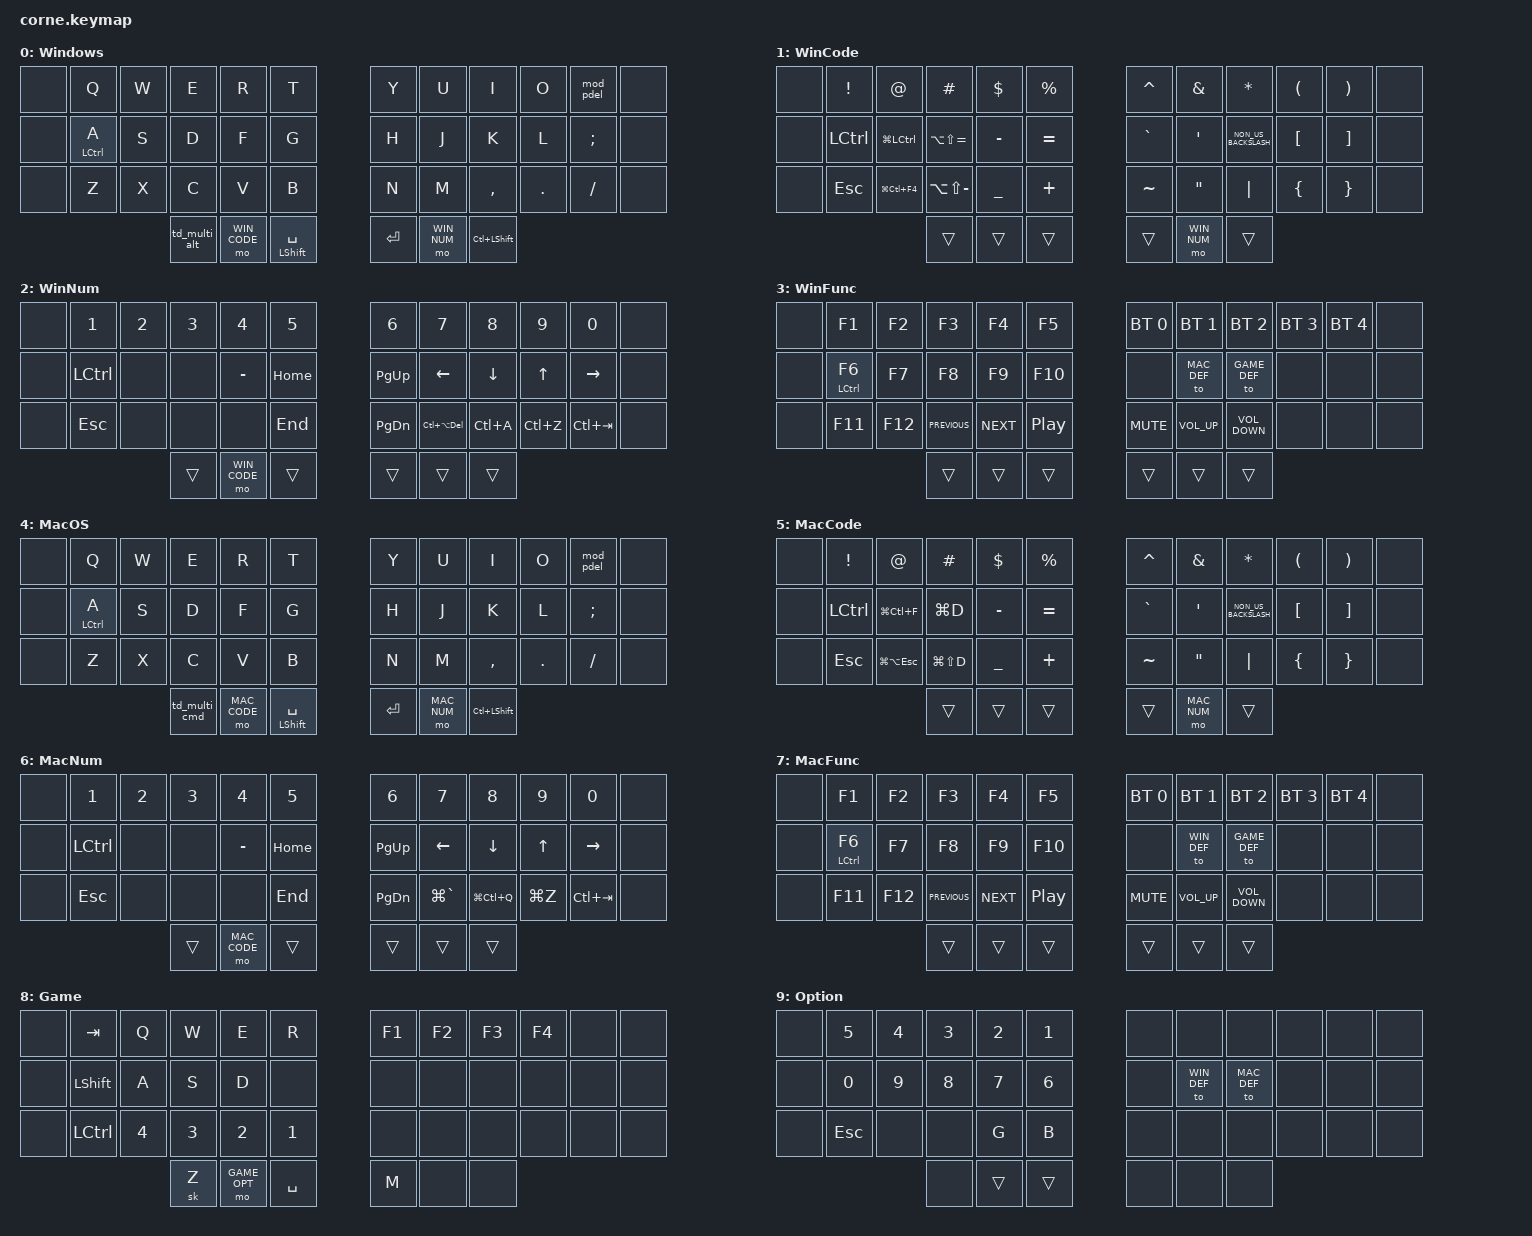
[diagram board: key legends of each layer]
/*
 * Copyright (c) 2020 The ZMK Contributors
 *
 * SPDX-License-Identifier: MIT
 */

#include <behaviors.dtsi>
#include <dt-bindings/zmk/bt.h>
#include <dt-bindings/zmk/keys.h>

// Layers

#define WIN_DEF  0
#define WIN_CODE 1
#define WIN_NUM  2
#define WIN_FUNC 3
#define MAC_DEF  4
#define MAC_CODE 5
#define MAC_NUM  6
#define MAC_FUNC 7
#define GAME_DEF 8
#define GAME_OPT 9

/ {
    macros {
        terminal_win: terminal_win {
            label = "TERMINAL_WIN";
            compatible = "zmk,behavior-macro";
            #binding-cells = <0>;
            bindings =
                <&macro_press>,
                <&kp LGUI>,
                <&macro_wait_time 50>,
                <&macro_tap>,
                <&kp R>,
                <&macro_release>,
                <&kp LGUI>,
                <&macro_wait_time 50>,
                <&macro_tap>,
                <&kp BACKSPACE>,
                <&macro_wait_time 50>,
                <&macro_tap>,
                <&kp W &kp T>,
                <&macro_wait_time 50>,
                <&macro_tap>,
                <&kp ENTER>;
        };

        screenshot_win: screenshot_win {
            label = "SCREENSHOT_WIN";
            compatible = "zmk,behavior-macro";
            #binding-cells = <0>;
            bindings =
                <&macro_press>,
                <&kp LGUI &kp LEFT_SHIFT>,
                <&macro_wait_time 50>,
                <&macro_tap>,
                <&kp S>,
                <&macro_release>,
                <&kp LGUI &kp LEFT_SHIFT>;
        };

        spotlight: spotlight {
            label = "SPOTLIGHT";
            compatible = "zmk,behavior-macro";
            #binding-cells = <0>;
            bindings =
                <&macro_press>,
                <&kp LGUI>,
                <&macro_wait_time 50>,
                <&macro_tap>,
                <&kp SPACE>,
                <&macro_release>,
                <&kp LGUI>;
        };

        screenshot_mac: screenshot_mac {
            label = "SCREEMSHOT_MAC";
            compatible = "zmk,behavior-macro";
            #binding-cells = <0>;
            bindings =
                <&macro_press>,
                <&kp LGUI &kp LEFT_SHIFT &kp LEFT_CONTROL>,
                <&macro_wait_time 50>,
                <&macro_tap>,
                <&kp NUMBER_4>,
                <&macro_release>,
                <&kp LGUI &kp LEFT_SHIFT &kp LEFT_CONTROL>;
        };
    };

    combos {
        compatible = "zmk,combos";

        combo_BT_CLR {
            bindings = <&bt BT_CLR>;
            key-positions = <18 22>;
            timeout-ms = <20>;
            layers = <3 7>;
        };

        combo_TAB {
            bindings = <&kp TAB>;
            key-positions = <1 2>;
            timeout-ms = <20>;
            layers = <0 1 2 3 4 5 6 7>;
        };

        combo_DEL {
            bindings = <&kp DEL>;
            key-positions = <9 10>;
            timeout-ms = <20>;
            layers = <0 1 2 3 4 5 6 7>;
        };

        combo_ALT_F4 {
            bindings = <&kp LA(F4)>;
            key-positions = <21 22>;
            timeout-ms = <20>;
            layers = <0>;
        };

        combo_ESC {
            bindings = <&kp ESC>;
            key-positions = <25 26>;
            timeout-ms = <20>;
            layers = <0 1 2 3 4 5 6 7>;
        };

        combo_TD_MULTI_WIN {
            bindings = <&td_multi_win>;
            key-positions = <33 34>;
            layers = <0 1 2 3>;
            timeout-ms = <20>;
        };

        combo_TD_MULTI_MAC {
            bindings = <&td_multi_mac>;
            key-positions = <33 34>;
            layers = <4 5 6 7>;
            timeout-ms = <20>;
        };
    };

    behaviors {
        td_multi_win: tap_dance_multi_win {
            compatible = "zmk,behavior-tap-dance";
            label = "TAP_DANCE_MULTI_WIN";
            #binding-cells = <0>;
            tapping-term-ms = <200>;
            bindings = <&sk LEFT_GUI>, <&terminal_win>, <&screenshot_win>;
        };

        td_multi_alt: tap_dance_multi_alt {
            compatible = "zmk,behavior-tap-dance";
            label = "TAP_DANCE_MULTI_ALT";
            #binding-cells = <0>;
            tapping-term-ms = <200>;
            bindings = <&kp LEFT_ALT>, <&kp LA(LEFT_SHIFT)>;
        };

        td_multi_mac: tap_dance_multi_mac {
            compatible = "zmk,behavior-tap-dance";
            label = "TAP_DANCE_MULTI_MAC";
            #binding-cells = <0>;
            tapping-term-ms = <200>;
            bindings = <&kp LEFT_ALT>, <&spotlight>, <&screenshot_mac>;
        };

        td_multi_cmd: tap_dance_multi_command {
            compatible = "zmk,behavior-tap-dance";
            label = "TAP_DANCE_MULTI_CMD";
            #binding-cells = <0>;
            tapping-term-ms = <200>;
            bindings = <&kp LEFT_GUI>, <&kp LA(LEFT_GUI)>;
        };

        mod_pdel: mod_p_delete {
            compatible = "zmk,behavior-mod-morph";
            #binding-cells = <0>;
            bindings = <&kp P>, <&kp BACKSPACE>;
            mods = <(MOD_LSFT)>;
        };

        sm: space_mod {
            compatible = "zmk,behavior-hold-tap";
            label = "SPACE_MOD";
            #binding-cells = <2>;
            tapping-term-ms = <200>;
            quick-tap-ms = <125>;
            flavor = "balanced";
            bindings = <&kp>, <&kp>;
        };
    };

    keymap {
        compatible = "zmk,keymap";

        windows_default_layer {
            display-name = "Windows";
            bindings = <
&none  &kp Q               &kp W  &kp E          &kp R         &kp T                   &kp Y      &kp U        &kp I               &kp O    &mod_pdel      &none
&none  &mt LEFT_CONTROL A  &kp S  &kp D          &kp F         &kp G                   &kp H      &kp J        &kp K               &kp L    &kp SEMICOLON  &none
&none  &kp Z               &kp X  &kp C          &kp V         &kp B                   &kp N      &kp M        &kp COMMA           &kp DOT  &kp SLASH      &none
                                  &td_multi_alt  &mo WIN_CODE  &sm LEFT_SHIFT SPACE    &kp ENTER  &mo WIN_NUM  &kp LC(LEFT_SHIFT)
            >;
        };

        windows_code_layer {
            display-name = "WinCode";
            bindings = <
&none  &kp EXCLAMATION   &kp AT          &kp HASH           &kp DOLLAR      &kp PERCENT    &kp CARET  &kp AMPERSAND      &kp STAR              &kp LEFT_PARENTHESIS  &kp RIGHT_PARENTHESIS  &none
&none  &kp LEFT_CONTROL  &kp LG(LCTRL)   &kp LA(LS(EQUAL))  &kp MINUS       &kp EQUAL      &kp GRAVE  &kp SINGLE_QUOTE   &kp NON_US_BACKSLASH  &kp LEFT_BRACKET      &kp RIGHT_BRACKET      &none
&none  &kp ESC           &kp LG(LC(F4))  &kp LA(LS(MINUS))  &kp UNDERSCORE  &kp PLUS       &kp TILDE  &kp DOUBLE_QUOTES  &kp PIPE              &kp LEFT_BRACE        &kp RIGHT_BRACE        &none
                                         &trans             &trans          &trans         &trans     &mo WIN_NUM        &trans
            >;
        };

        windows_number_layer {
            display-name = "WinNum";
            bindings = <
&none  &kp NUMBER_1      &kp NUMBER_2  &kp NUMBER_3  &kp NUMBER_4  &kp NUMBER_5    &kp NUMBER_6   &kp NUMBER_7     &kp NUMBER_8    &kp NUMBER_9  &kp NUMBER_0     &none
&none  &kp LEFT_CONTROL  &none         &none         &kp MINUS     &kp HOME        &kp PAGE_UP    &kp LEFT_ARROW   &kp DOWN_ARROW  &kp UP_ARROW  &kp RIGHT_ARROW  &none
&none  &kp ESC           &none         &none         &none         &kp END         &kp PAGE_DOWN  &kp LC(LA(DEL))  &kp LC(A)       &kp LC(Z)     &kp LC(TAB)      &none
                                       &trans        &mo WIN_CODE  &trans          &trans         &trans           &trans
            >;
        };

        windows_function_layer {
            display-name = "WinFunc";
            bindings = <
&none  &kp F1               &kp F2   &kp F3          &kp F4      &kp F5              &bt BT_SEL 0  &bt BT_SEL 1     &bt BT_SEL 2       &bt BT_SEL 3  &bt BT_SEL 4  &none
&none  &mt LEFT_CONTROL F6  &kp F7   &kp F8          &kp F9      &kp F10             &none         &to MAC_DEF      &to GAME_DEF       &none         &none         &none
&none  &kp F11              &kp F12  &kp C_PREVIOUS  &kp C_NEXT  &kp C_PLAY_PAUSE    &kp C_MUTE    &kp C_VOLUME_UP  &kp C_VOLUME_DOWN  &none         &none         &none
                                     &trans          &trans      &trans              &trans        &trans           &trans
            >;
        };

        mac_default_layer {
            display-name = "MacOS";
            bindings = <
&none  &kp Q               &kp W  &kp E          &kp R         &kp T                   &kp Y      &kp U        &kp I               &kp O    &mod_pdel      &none
&none  &mt LEFT_CONTROL A  &kp S  &kp D          &kp F         &kp G                   &kp H      &kp J        &kp K               &kp L    &kp SEMICOLON  &none
&none  &kp Z               &kp X  &kp C          &kp V         &kp B                   &kp N      &kp M        &kp COMMA           &kp DOT  &kp SLASH      &none
                                  &td_multi_cmd  &mo MAC_CODE  &sm LEFT_SHIFT SPACE    &kp ENTER  &mo MAC_NUM  &kp LC(LEFT_SHIFT)
            >;
        };

        mac_code_layer {
            display-name = "MacCode";
            bindings = <
&none  &kp EXCLAMATION   &kp AT           &kp HASH       &kp DOLLAR      &kp PERCENT    &kp CARET  &kp AMPERSAND      &kp STAR              &kp LEFT_PARENTHESIS  &kp RIGHT_PARENTHESIS  &none
&none  &kp LEFT_CONTROL  &kp LG(LC(F))    &kp LG(D)      &kp MINUS       &kp EQUAL      &kp GRAVE  &kp SINGLE_QUOTE   &kp NON_US_BACKSLASH  &kp LEFT_BRACKET      &kp RIGHT_BRACKET      &none
&none  &kp ESC           &kp LG(LA(ESC))  &kp LG(LS(D))  &kp UNDERSCORE  &kp PLUS       &kp TILDE  &kp DOUBLE_QUOTES  &kp PIPE              &kp LEFT_BRACE        &kp RIGHT_BRACE        &none
                                          &trans         &trans          &trans         &trans     &mo MAC_NUM        &trans
            >;
        };

        mac_number_layer {
            display-name = "MacNum";
            bindings = <
&none  &kp NUMBER_1      &kp NUMBER_2  &kp NUMBER_3  &kp NUMBER_4  &kp NUMBER_5    &kp NUMBER_6   &kp NUMBER_7    &kp NUMBER_8     &kp NUMBER_9  &kp NUMBER_0     &none
&none  &kp LEFT_CONTROL  &none         &none         &kp MINUS     &kp HOME        &kp PAGE_UP    &kp LEFT_ARROW  &kp DOWN_ARROW   &kp UP_ARROW  &kp RIGHT_ARROW  &none
&none  &kp ESC           &none         &none         &none         &kp END         &kp PAGE_DOWN  &kp LG(GRAVE)   &kp LG(LC(Q))    &kp LG(Z)     &kp LC(TAB)      &none
                                       &trans        &mo MAC_CODE  &trans          &trans         &trans          &trans
            >;
        };

        mac_function_layer {
            display-name = "MacFunc";
            bindings = <
&none  &kp F1               &kp F2   &kp F3          &kp F4      &kp F5              &bt BT_SEL 0  &bt BT_SEL 1     &bt BT_SEL 2        &bt BT_SEL 3  &bt BT_SEL 4  &none
&none  &mt LEFT_CONTROL F6  &kp F7   &kp F8          &kp F9      &kp F10             &none         &to WIN_DEF      &to GAME_DEF        &none         &none         &none
&none  &kp F11              &kp F12  &kp C_PREVIOUS  &kp C_NEXT  &kp C_PLAY_PAUSE    &kp C_MUTE    &kp C_VOLUME_UP  &kp C_VOLUME_DOWN   &none         &none         &none
                                      &trans          &trans      &trans              &trans        &trans           &trans
            >;
        };

        game_default_layer {
            display-name = "Game";
            bindings = <
&none  &kp TAB           &kp Q         &kp W         &kp E         &kp R           &kp F1  &kp F2  &kp F3  &kp F4  &none  &none
&none  &kp LEFT_SHIFT    &kp A         &kp S         &kp D         &none           &none   &none   &none   &none   &none  &none
&none  &kp LEFT_CONTROL  &kp NUMBER_4  &kp NUMBER_3  &kp NUMBER_2  &kp NUMBER_1    &none   &none   &none   &none   &none  &none
                                       &sk Z         &mo GAME_OPT  &kp SPACE       &kp M   &none   &none
            >;
        };  

        game_option_layer {
            display-name = "Option";
            bindings = <
&none  &kp NUMBER_5  &kp NUMBER_4  &kp NUMBER_3  &kp NUMBER_2  &kp NUMBER_1    &none  &none        &none        &none  &none  &none
&none  &kp NUMBER_0  &kp NUMBER_9  &kp NUMBER_8  &kp NUMBER_7  &kp NUMBER_6    &none  &to WIN_DEF  &to MAC_DEF  &none  &none  &none
&none  &kp ESC       &none         &none         &kp G         &kp B           &none  &none        &none        &none  &none  &none
                                   &none         &trans        &trans          &none  &none        &none
            >;
        };
    };

    conditional_layers {
        compatible = "zmk,conditional-layers";

        windows_function {
            if-layers = <1 2>;
            then-layer = <3>;
        };

        mac_function {
            if-layers = <5 6>;
            then-layer = <7>;
        };
    };
};
